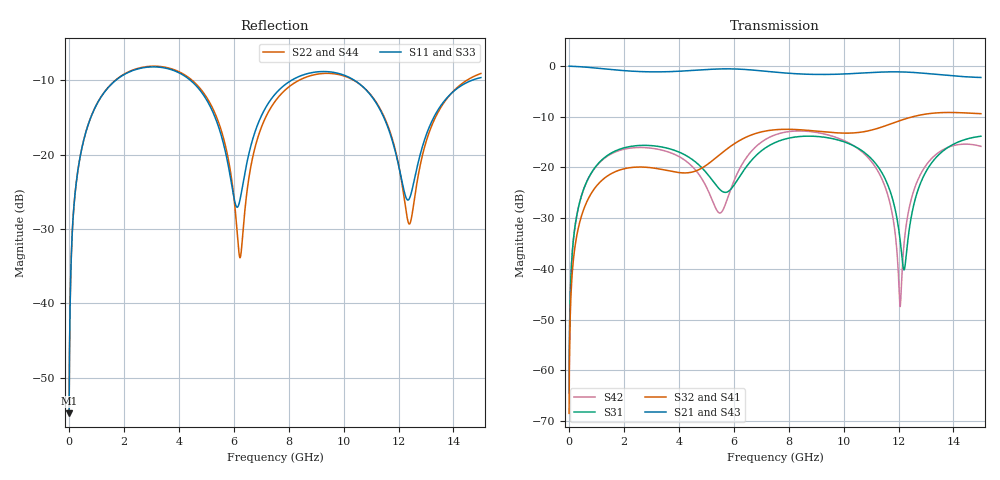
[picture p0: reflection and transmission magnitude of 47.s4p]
! Created with skrf 1.8.0 (http://scikit-rf.org).
# GHz S RI R 50.0
!freq ReS11 ImS11 ReS12 ImS12 ReS13 ImS13
! ReS14 ImS14
! ReS21 ImS21 ReS22 ImS22 ReS23 ImS23
! ReS24 ImS24
! ReS31 ImS31 ReS32 ImS32 ReS33 ImS33
! ReS34 ImS34
! ReS41 ImS41 ReS42 ImS42 ReS43 ImS43
! ReS44 ImS44
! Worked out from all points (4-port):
!   2499 points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, 5 MHz to 15 GHz, reference 50 ohm
!   strongest paths, dB at 5 MHz, 3.476 GHz, 7.19 GHz, 11.1 GHz, 15 GHz:
!     S21: 0.0, -1.1, -1.0, -1.2, -2.2
!     S43: 0.0, -1.1, -1.0, -1.2, -2.2
!     S32: -68.5, -20.5, -12.8, -12.5, -9.4
!     S41: -68.5, -20.6, -12.8, -12.6, -9.5
!     S31: -64.4, -16.1, -16.0, -18.8, -13.8
!     S42: -64.4, -16.7, -14.4, -19.4, -15.8
!   lowest |S11| = -54.8 dB at 5 MHz (marker M1), VSWR 1.00, Z = 50.1 + j0.11 ohm
!   |S11| at or under -10 dB: start of sweep to 1.701 GHz; 4.424 GHz to 8.1 GHz (3.676 GHz wide, 58.7 % of centre); 10.4 GHz to 14.67 GHz (4.273 GHz wide, 34.1 % of centre)
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0.005  0.00145 0.0011  0.9985 -0.00283  7.32e-05 0.000595  -7.09e-05 -0.00037
       0.9985 -0.00283  0.00145 0.0011  -7.09e-05 -0.00037  7.3e-05 0.000595
       7.32e-05 0.000595  -7.09e-05 -0.00037  0.00145 0.0011  0.9985 -0.00283
       -7.09e-05 -0.00037  7.3e-05 0.000595  0.9985 -0.00283  0.00145 0.0011
0.3126303  0.0196 0.0732  0.9733 -0.1767  0.00943 0.0357  -0.00753 -0.0221
           0.9733 -0.1767  0.0197 0.0732  -0.00754 -0.0221  0.00871 0.0358
           0.00943 0.0357  -0.00754 -0.0221  0.0196 0.0732  0.9733 -0.1768
           -0.00753 -0.0221  0.00871 0.0358  0.9733 -0.1768  0.0197 0.0732
1.569404  0.2346 0.1884  0.6184 -0.6856  0.1237 0.0662  -0.0859 -0.0175
          0.6184 -0.6856  0.2378 0.1867  -0.0861 -0.0174  0.113 0.0783
          0.1237 0.0662  -0.0861 -0.0174  0.2346 0.1885  0.6184 -0.6856
          -0.0859 -0.0175  0.113 0.0783  0.6184 -0.6856  0.238 0.1867
5.989996  0.0453 -0.0285  -0.9244 -0.1584  -0.0534 0.0384  -0.0283 0.1668
          -0.9244 -0.1584  0.0226 -0.0501  -0.0249 0.1674  0.039 0.0601
          -0.0534 0.0384  -0.0249 0.1674  0.0465 -0.031  -0.9241 -0.1588
          -0.0283 0.1668  0.039 0.0601  -0.9241 -0.1588  0.0227 -0.0524
9.685286  0.3507 -0.0638  0.0279 0.8299  0.17 -0.0854  0.2021 -0.0801
          0.0279 0.8299  0.3461 -0.0486  0.2019 -0.0881  0.176 -0.0945
          0.17 -0.0854  0.2019 -0.0881  0.3478 -0.0626  0.0297 0.8303
          0.2021 -0.0801  0.176 -0.0945  0.0297 0.8303  0.3463 -0.0515
12.06128  0.0562 -0.0505  0.8254 0.296  -0.0134 -0.0135  0.0949 -0.2743
          0.8254 0.296  0.0456 -0.0599  0.0821 -0.2786  0.00423 -0.000433
          -0.0134 -0.0135  0.0821 -0.2786  0.0584 -0.0508  0.8262 0.2931
          0.0949 -0.2743  0.00423 -0.000433  0.8262 0.2931  0.0436 -0.0617
15  0.321 0.0765  0.3454 -0.6907  0.1706 -0.1107  -0.3207 -0.1025
    0.3454 -0.6907  0.3357 0.1042  -0.3284 -0.0857  0.1562 -0.0419
    0.1706 -0.1107  -0.3284 -0.0857  0.3143 0.0757  0.3411 -0.6942
    -0.3207 -0.1025  0.1562 -0.0419  0.3411 -0.6942  0.3366 0.0993
